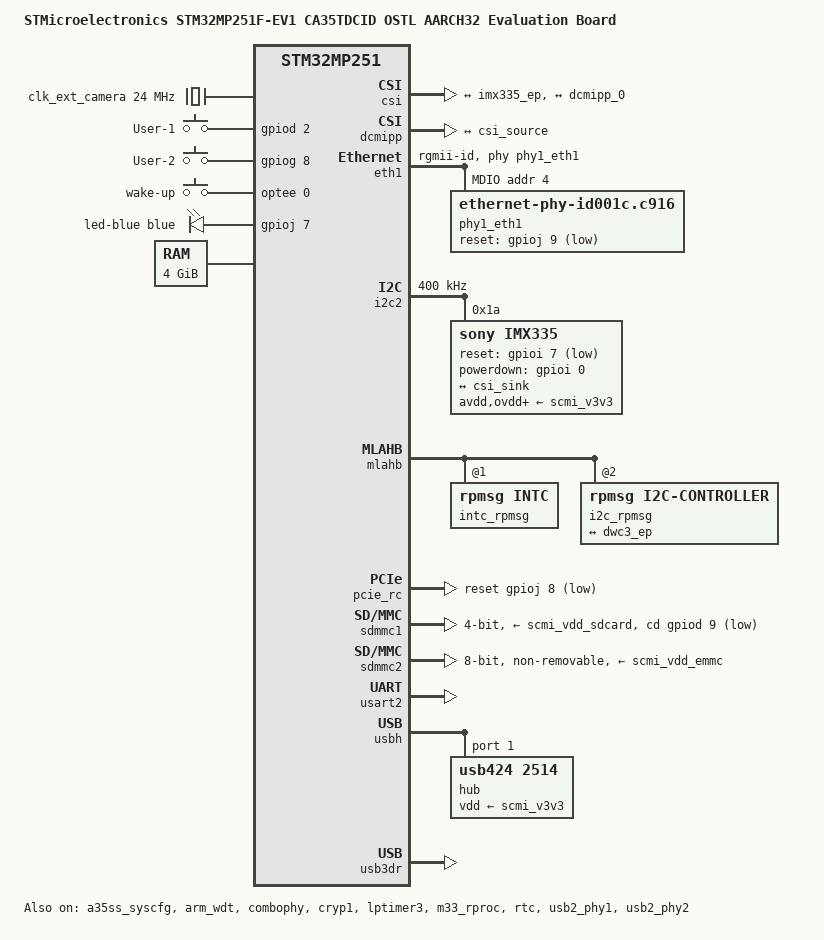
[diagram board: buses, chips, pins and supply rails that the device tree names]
// SPDX-License-Identifier: (GPL-2.0-only OR BSD-3-Clause)
/*
 * Copyright (C) STMicroelectronics 2025 - All Rights Reserved
 * Author: Amelie Delaunay <amelie.delaunay@foss.st.com> for STMicroelectronics.
 */

/dts-v1/;

#include <dt-bindings/gpio/gpio.h>
#include <dt-bindings/input/input.h>
#include <dt-bindings/leds/common.h>
#include <dt-bindings/regulator/st,stm32mp25-regulator.h>
#include "../../../../arm64/boot/dts/st/stm32mp251.dtsi"
#include "../../../../arm64/boot/dts/st/stm32mp25xf.dtsi"
#include "../../../../arm64/boot/dts/st/stm32mp25-pinctrl.dtsi"
#include "../../../../arm64/boot/dts/st/stm32mp25xxai-pinctrl.dtsi"
#include "stm32mp251f-ev1-ca35tdcid-ostl-resmem.dtsi"

/ {
	model = "STMicroelectronics STM32MP251F-EV1 CA35TDCID OSTL AARCH32 Evaluation Board";
	compatible = "st,stm32mp251f-ev1-ca35tdcid-ostl", "st,stm32mp251f-ev1", "st,stm32mp251";

	aliases {
		ethernet0 = &eth1;
		serial0 = &usart2;
		serial1 = &usart6;
		serial2 = &lpuart1;
	};

	chosen {
		stdout-path = "serial0:115200n8";
		#address-cells = <2>;
		#size-cells = <2>;
		ranges;

		framebuffer {
			compatible = "simple-framebuffer";
			clocks = <&rcc CK_BUS_LTDC>, <&rcc CK_KER_LTDC>;
			status = "disabled";
		};
	};

	clocks {
		cec_clock: cec-clock {
			compatible = "fixed-clock";
			#clock-cells = <0>;
			clock-frequency = <12000000>;
		};

		clk_ext_camera: clk-ext-camera {
			#clock-cells = <0>;
			compatible = "fixed-clock";
			clock-frequency = <24000000>;
		};

		pad_clk: pad-clk {
			#clock-cells = <0>;
			compatible = "fixed-clock";
			clock-frequency = <100000000>;
		};
	};

	gpio-keys {
		compatible = "gpio-keys";

		button-user-1 {
			label = "User-1";
			linux,code = <BTN_1>;
			gpios = <&gpiod 2 GPIO_ACTIVE_HIGH>;
			status = "okay";
		};

		button-user-2 {
			label = "User-2";
			linux,code = <BTN_2>;
			gpios = <&gpiog 8 GPIO_ACTIVE_HIGH>;
			status = "okay";
		};

		button-wake-up {
			label = "wake-up";
			linux,code = <KEY_WAKEUP>;
			interrupts-extended = <&optee 0>;
			wakeup-source;
			status = "okay";
		};
	};

	gpio-leds {
		compatible = "gpio-leds";

		led-blue {
			function = LED_FUNCTION_HEARTBEAT;
			color = <LED_COLOR_ID_BLUE>;
			gpios = <&gpioj 7 GPIO_ACTIVE_HIGH>;
			linux,default-trigger = "heartbeat";
			default-state = "off";
		};
	};


	memory@80000000 {
		device_type = "memory";
		reg = <0x0 0x80000000 0x1 0x0>;
	};

	timer {
		arm,cpu-registers-not-fw-configured;
	};
};

&adc_12 {
	/* Don't need a pinctrl for ANA0 dedicated pin e.g. Channel@0 */
	vdda-supply = <&scmi_v1v8>;
	vref-supply = <&scmi_v1v8>;
	status = "disabled";
	adc1: adc@0 {
		status = "okay";
		channel@0 {
			reg = <0>;
			st,min-sample-time-ns = <400>;
		};
	};
};

&a35ss_syscfg {
	status = "okay";
};

&arm_wdt {
	timeout-sec = <32>;
	status = "okay";
};

&combophy {
	clocks = <&rcc CK_BUS_USB3PCIEPHY>, <&rcc CK_KER_USB3PCIEPHY>, <&pad_clk>;
	clock-names = "apb-clk", "ker-clk", "pad-clk";
	st,rx_equalizer = <1>;
	status = "okay";
};

&crc {
	status = "disabled";
};

&cryp1 {
	status = "okay";
};

&csi {
	vdd-supply =  <&scmi_vddcore>;
	vdda18-supply = <&scmi_v1v8>;
	status = "okay";
	ports {
		#address-cells = <1>;
		#size-cells = <0>;
		port@0 {
			reg = <0>;
			csi_sink: endpoint {
				remote-endpoint = <&imx335_ep>;
				data-lanes = <1 2>;
				bus-type = <4>;
			};
		};
		port@1 {
			reg = <1>;
			csi_source: endpoint {
				remote-endpoint = <&dcmipp_0>;
			};
		};
	};
};

&dcmipp {
	status = "okay";
	port {
		dcmipp_0: endpoint {
			remote-endpoint = <&csi_source>;
			bus-type = <4>;
		};
	};
};

&eth1 {
	status = "okay";
	pinctrl-0 = <&eth1_rgmii_pins_a &eth1_mdio_pins_a>;
	pinctrl-1 = <&eth1_rgmii_sleep_pins_a &eth1_mdio_sleep_pins_a>;
	pinctrl-names = "default", "sleep";
	phy-mode = "rgmii-id";
	max-speed = <1000>;
	phy-handle = <&phy1_eth1>;
	st,eth-clk-sel;
	snps,ext-systime;

	mdio1 {
		#address-cells = <1>;
		#size-cells = <0>;
		compatible = "snps,dwmac-mdio";
		phy1_eth1: ethernet-phy@4 {
			compatible = "ethernet-phy-id001c.c916";
			reset-gpios =  <&gpioj 9 GPIO_ACTIVE_LOW>;
			reset-assert-us = <10000>;
			reset-deassert-us = <80000>;
			realtek,eee-disable;
			reg = <4>;
		};
	};
};

&hpdma {
	memory-region = <&hpdma1_lli>;
};

&hpdma2 {
	memory-region = <&hpdma2_lli>;
};

&hpdma3 {
	memory-region = <&hpdma3_lli>;
};

&i2c2 {
	pinctrl-names = "default", "sleep";
	pinctrl-0 = <&i2c2_pins_a>;
	pinctrl-1 = <&i2c2_sleep_pins_a>;
	i2c-scl-rising-time-ns = <100>;
	i2c-scl-falling-time-ns = <13>;
	clock-frequency = <400000>;
	status = "okay";
	/* spare dmas for other usage */
	/delete-property/dmas;
	/delete-property/dma-names;

	imx335: camera@1a {
		compatible = "sony,imx335";
		reg = <0x1a>;
		clocks = <&clk_ext_camera>;
		avdd-supply = <&scmi_v3v3>;
		ovdd-supply = <&scmi_v3v3>;
		dvdd-supply = <&scmi_v3v3>;
		reset-gpios = <&gpioi 7 (GPIO_ACTIVE_LOW | GPIO_PUSH_PULL)>;
		powerdown-gpios = <&gpioi 0 (GPIO_ACTIVE_HIGH | GPIO_PUSH_PULL)>;
		status = "okay";

		port {
			imx335_ep: endpoint {
				remote-endpoint = <&csi_sink>;
				clock-lanes = <0>;
				data-lanes = <1 2>;
				link-frequencies = /bits/ 64 <594000000>;
			};
		};
	};
};

&i2c8 {
	pinctrl-names = "default", "sleep";
	pinctrl-0 = <&i2c8_pins_a>;
	pinctrl-1 = <&i2c8_sleep_pins_a>;
	i2c-scl-rising-time-ns = <57>;
	i2c-scl-falling-time-ns = <7>;
	clock-frequency = <400000>;
	status = "disabled";
	/* spare dmas for other usage */
	/delete-property/dmas;
	/delete-property/dma-names;
};

&ipcc1 {
	status = "okay";
};

&ipcc2 {
	status = "okay";
};

/* use LPTIMER with tick broadcast for suspend mode */
&lptimer3 {
	clocks = <&rcc CK_LPTIM3_AM>;
	status = "okay";
	timer {
		status = "okay";
	};
};

&lpuart1 {
	pinctrl-names = "default", "idle", "sleep";
	pinctrl-0 = <&lpuart1_pins_a>;
	pinctrl-1 = <&lpuart1_idle_pins_a>;
	pinctrl-2 = <&lpuart1_sleep_pins_a>;
	/delete-property/dmas;
	/delete-property/dma-names;
	uart-has-rtscts;
	status = "disabled";
};

&m33_rproc {
	compatible = "st,stm32mp2-m33-tee";
	mboxes = <&ipcc1 0x100>, <&ipcc1 0x101>, <&ipcc1 2>;
	mbox-names = "vq0", "vq1", "shutdown";
	memory-region = <&ipc_shmem_1>, <&vdev0vring0>,
			<&vdev0vring1>, <&vdev0buffer>,
			<&cm33_sram2>;
	status = "okay";
};

&mlahb {
	intc_rpmsg: interrupt-controller@1 {
		compatible = "rpmsg,intc";
		reg = <1 0>;
		#interrupt-cells = <1>;
		interrupt-controller;
	};

	i2c_rpmsg: i2c@2 {
		compatible = "rpmsg,i2c-controller";
		reg = <2 0>;
		rpmsg,dev-id = "rpmsg_i2c";
		#address-cells = <1>;
		#size-cells = <0>;
		status = "okay";

		typec@35 {
			compatible = "st,stm32mp25-typec";
			reg = <0x35>;
			interrupts-extended = <&intc_rpmsg 0>;
			status = "okay";
			connector {
				compatible = "usb-c-connector";
				label = "USB-C";

				port {
					typec_ep: endpoint {
						remote-endpoint = <&dwc3_ep>;
					};
				};
			};
		};
	};
};

&pcie_ep {
	pinctrl-names = "default", "init";
	pinctrl-0 = <&pcie_pins_a>;
	pinctrl-1 = <&pcie_init_pins_a>;
	reset-gpios = <&gpioj 8 GPIO_ACTIVE_LOW>;
	status = "disabled";
};

&pcie_rc {
	pinctrl-names = "default", "init", "sleep";
	pinctrl-0 = <&pcie_pins_a>;
	pinctrl-1 = <&pcie_init_pins_a>;
	pinctrl-2 = <&pcie_sleep_pins_a>;
	reset-gpios = <&gpioj 8 GPIO_ACTIVE_LOW>;
	wakeup-source;
	wake-gpios = <&gpioh 5 (GPIO_ACTIVE_LOW | GPIO_PULL_UP)>;
	status = "okay";
};

&rtc {
	status = "okay";
};

&scmi_regu {
	scmi_vddio1: regulator@0 {
		regulator-min-microvolt = <1800000>;
		regulator-max-microvolt = <3300000>;
	};
	scmi_vddcore: regulator@11  {
		reg = <VOLTD_SCMI_STPMIC2_BUCK2>;
		regulator-name = "vddcore";
	};
	scmi_v1v8: regulator@14  {
		reg = <VOLTD_SCMI_STPMIC2_BUCK5>;
		regulator-name = "v1v8";
	};
	scmi_v3v3: regulator@16 {
		reg = <VOLTD_SCMI_STPMIC2_BUCK7>;
		regulator-name = "v3v3";
	};
	scmi_vdd_emmc: regulator@18 {
		reg = <VOLTD_SCMI_STPMIC2_LDO2>;
		regulator-name = "vdd_emmc";
	};
	scmi_vdd3v3_usb: regulator@20 {
		reg = <VOLTD_SCMI_STPMIC2_LDO4>;
		regulator-name = "vdd3v3_usb";
	};
	scmi_vdd_sdcard: regulator@23 {
		reg = <VOLTD_SCMI_STPMIC2_LDO7>;
		regulator-name = "vdd_sdcard";
	};
};

&sdmmc1 {
	pinctrl-names = "default", "opendrain", "sleep";
	pinctrl-0 = <&sdmmc1_b4_pins_a>;
	pinctrl-1 = <&sdmmc1_b4_od_pins_a>;
	pinctrl-2 = <&sdmmc1_b4_sleep_pins_a>;
	cd-gpios = <&gpiod 9 (GPIO_ACTIVE_LOW | GPIO_PULL_UP)>;
	disable-wp;
	st,neg-edge;
	bus-width = <4>;
	vmmc-supply = <&scmi_vdd_sdcard>;
	vqmmc-supply = <&scmi_vddio1>;
	sd-uhs-sdr12;
	sd-uhs-sdr25;
	sd-uhs-sdr50;
	sd-uhs-ddr50;
	sd-uhs-sdr104;
	status = "okay";
};

&sdmmc2 {
	pinctrl-names = "default", "opendrain", "sleep";
	pinctrl-0 = <&sdmmc2_b4_pins_a &sdmmc2_d47_pins_a>;
	pinctrl-1 = <&sdmmc2_b4_od_pins_a &sdmmc2_d47_pins_a>;
	pinctrl-2 = <&sdmmc2_b4_sleep_pins_a &sdmmc2_d47_sleep_pins_a>;
	non-removable;
	no-sd;
	no-sdio;
	st,neg-edge;
	bus-width = <8>;
	vmmc-supply = <&scmi_vdd_emmc>;
	vqmmc-supply = <&scmi_vddio2>;
	mmc-ddr-1_8v;
	mmc-hs200-1_8v;
	status = "okay";
};

&sdmmc3 {
	pinctrl-names = "default", "opendrain", "sleep";
	pinctrl-0 = <&sdmmc3_b4_pins_a>;
	pinctrl-1 = <&sdmmc3_b4_od_pins_a>;
	pinctrl-2 = <&sdmmc3_b4_sleep_pins_a>;
	broken-cd;
	disable-wp;
	st,neg-edge;
	bus-width = <4>;
	vmmc-supply = <&scmi_v3v3>;
	status = "disabled";
};

&spi3 {
	pinctrl-names = "default", "sleep";
	pinctrl-0 = <&spi3_pins_a>;
	pinctrl-1 = <&spi3_sleep_pins_a>;
	status = "disabled";
};

&spi8 {
	pinctrl-names = "default", "sleep";
	pinctrl-0 = <&spi8_pins_a>;
	pinctrl-1 = <&spi8_sleep_pins_a>;
	status = "disabled";
};

&usart2 {
	pinctrl-names = "default", "idle", "sleep";
	pinctrl-0 = <&usart2_pins_a>;
	pinctrl-1 = <&usart2_idle_pins_a>;
	pinctrl-2 = <&usart2_sleep_pins_a>;
	/delete-property/dmas;
	/delete-property/dma-names;
	status = "okay";
};

&usart6 {
	pinctrl-names = "default", "idle", "sleep";
	pinctrl-0 = <&usart6_pins_a>;
	pinctrl-1 = <&usart6_idle_pins_a>;
	pinctrl-2 = <&usart6_sleep_pins_a>;
	uart-has-rtscts;
	status = "disabled";
};

&usb2_phy1 {
	vdd33-supply = <&scmi_vdd3v3_usb>;
	status = "okay";
};

&usb2_phy2 {
	vdd33-supply = <&scmi_vdd3v3_usb>;
	status = "okay";
};

&usbh {
	status = "okay";

	usbh_ehci: usb@482f0000 {
		#address-cells = <1>;
		#size-cells = <0>;
		/* onboard HUB */
		hub@1 {
			compatible = "usb424,2514";
			reg = <1>;
			vdd-supply = <&scmi_v3v3>;
		};
	};

	usbh_ohci: usb@482e0000 {
		status = "disabled";
	};
};

&usb3dr {
	status = "okay";

	dwc3: usb@48300000 {
		maximum-speed = "high-speed";
		usb-role-switch;
		port {
			dwc3_ep: endpoint {
				remote-endpoint = <&typec_ep>;
			};
		};
	};
};
